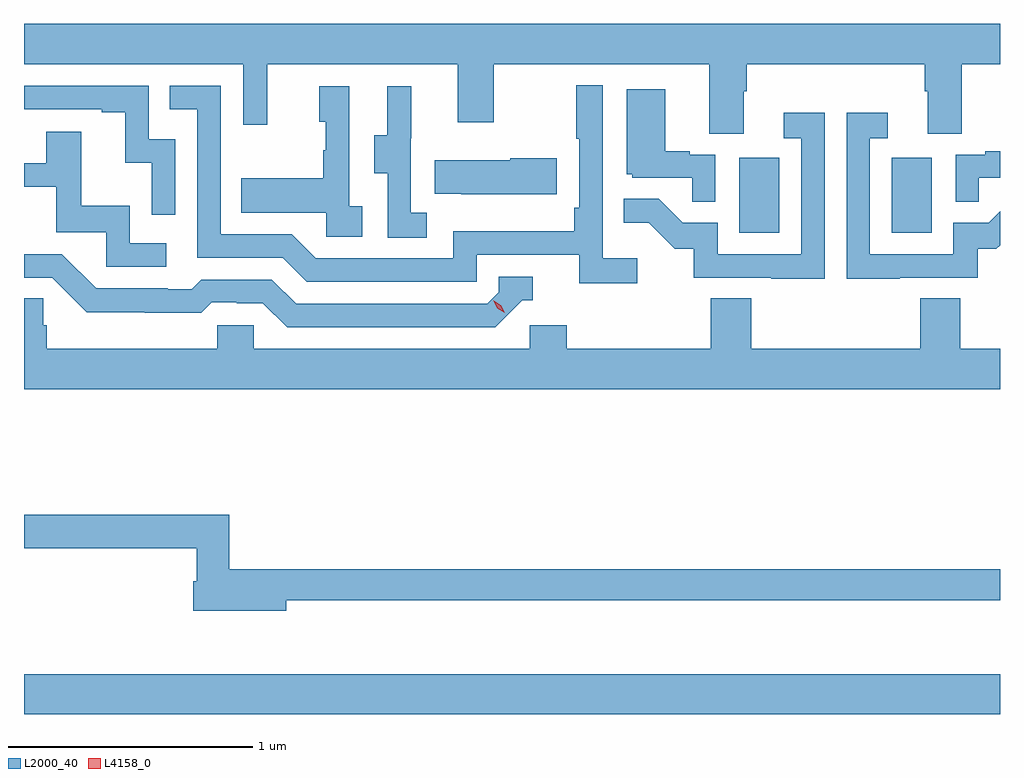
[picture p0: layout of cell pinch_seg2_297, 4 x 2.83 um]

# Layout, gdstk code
import gdstk
lib = gdstk.Library(unit=1e-6, precision=1e-09)
def R(c, l, rs):  # rectangles x0, y0, x1, y1
    for r in rs: c.add(gdstk.rectangle(r[:2], r[2:], *l))
def P(c, l, *ps):  # polygons
    for p in ps: c.add(gdstk.Polygon(p, *l))
L2000_40 = (2000, 40)
L4158_0 = (4158, 0)

pinch_seg2_297 = lib.new_cell('pinch_seg2_297')
R(pinch_seg2_297, L2000_40, [(890.146,635.648,894.146,635.812), (893.078,637.62,893.242,637.927), (893.702,637.62,893.866,637.927)])
P(pinch_seg2_297, L2000_40, [(893.095,638.2),(893.108,638.2),(893.108,638.312),(893.837,638.312),(893.837,638.2),(893.849,638.2),(893.849,638.026),(893.989,638.026),(893.989,638.312),(894.146,638.312),(894.146,638.476),(890.146,638.476),(890.146,638.312),(891.045,638.312),(891.045,638.064),(891.143,638.064),(891.143,638.312),(891.923,638.312),(891.923,638.073),(892.071,638.073),(892.071,638.312),(892.955,638.312),(892.955,638.026),(893.095,638.026)],
  [(892.66,637.516),(892.518,637.516),(892.518,638.224),(892.41,638.224),(892.41,638.005),(892.422,638.005),(892.422,637.723),(892.402,637.723),(892.402,637.627),(891.906,637.627),(891.906,637.515),(891.342,637.515),(891.243,637.614),(890.952,637.614),(890.952,638.223),(890.743,638.223),(890.743,638.127),(890.856,638.127),(890.856,637.518),(891.206,637.518),(891.305,637.419),(892.002,637.419),(892.002,637.53),(892.421,637.53),(892.421,637.414),(892.66,637.414)],
  [(890.766,638.004),(890.658,638.004),(890.658,638.223),(890.146,638.223),(890.146,638.127),(890.465,638.127),(890.465,638.115),(890.561,638.115),(890.561,637.907),(890.67,637.907),(890.67,637.695),(890.766,637.695)],
  [(891.796,637.703),(891.732,637.703),(891.732,638.007),(891.734,638.007),(891.734,638.221),(891.635,638.221),(891.635,638.019),(891.581,638.019),(891.581,637.864),(891.636,637.864),(891.636,637.6),(891.796,637.6)],
  [(891.532,637.73),(891.48,637.73),(891.48,638.221),(891.356,638.221),(891.356,638.076),(891.382,638.076),(891.382,637.958),(891.372,637.958),(891.372,637.843),(891.037,637.843),(891.037,637.703),(891.384,637.703),(891.384,637.605),(891.532,637.605)],
  [(892.98,637.941),(892.874,637.941),(892.874,637.954),(892.774,637.954),(892.774,638.209),(892.616,638.209),(892.616,637.86),(892.638,637.86),(892.638,637.845),(892.885,637.845),(892.885,637.747),(892.98,637.747)],
  [(893.735,637.437),(894.054,637.437),(894.054,637.554),(894.13,637.554),(894.146,637.57),(894.146,637.708),(894.1,637.662),(893.955,637.662),(893.955,637.533),(893.613,637.533),(893.613,638.007),(893.686,638.007),(893.686,638.113),(893.517,638.113),(893.517,637.432),(893.735,637.432)],
  [(893.427,638.113),(893.259,638.113),(893.259,638.007),(893.331,638.007),(893.331,637.533),(892.989,637.533),(892.989,637.662),(892.845,637.662),(892.747,637.76),(892.603,637.76),(892.603,637.661),(892.707,637.661),(892.814,637.554),(892.891,637.554),(892.891,637.437),(893.209,637.437),(893.209,637.432),(893.427,637.432)],
  [(890.728,637.578),(890.58,637.578),(890.58,637.732),(890.381,637.732),(890.381,638.035),(890.237,638.035),(890.237,637.905),(890.146,637.905),(890.146,637.809),(890.279,637.809),(890.279,637.623),(890.484,637.623),(890.484,637.482),(890.728,637.482)],
  [(894.059,637.845),(894.146,637.845),(894.146,637.954),(894.085,637.954),(894.085,637.941),(893.964,637.941),(893.964,637.747),(894.059,637.747)],
  [(892.33,637.926),(892.139,637.926),(892.139,637.918),(891.829,637.918),(891.829,637.781),(891.937,637.781),(891.937,637.778),(892.33,637.778)],
  [(892.188,637.344),(892.231,637.344),(892.231,637.44),(892.092,637.44),(892.092,637.377),(892.044,637.329),(891.261,637.329),(891.162,637.428),(890.873,637.428),(890.834,637.389),(890.735,637.389),(890.735,637.392),(890.442,637.392),(890.301,637.533),(890.146,637.533),(890.146,637.437),(890.262,637.437),(890.404,637.295),(890.64,637.295),(890.64,637.293),(890.873,637.293),(890.915,637.335),(891.018,637.335),(891.018,637.332),(891.125,637.332),(891.224,637.233),(892.077,637.233)],
  [(894.146,637.144),(893.984,637.144),(893.984,637.352),(893.819,637.352),(893.819,637.144),(893.126,637.144),(893.126,637.352),(892.961,637.352),(892.961,637.144),(892.37,637.144),(892.37,637.242),(892.218,637.242),(892.218,637.144),(891.087,637.144),(891.087,637.242),(890.937,637.242),(890.937,637.144),(890.24,637.144),(890.24,637.242),(890.225,637.242),(890.225,637.352),(890.146,637.352),(890.146,636.98),(894.146,636.98)],
  [(891.22,636.114),(894.146,636.114),(894.146,636.242),(890.987,636.242),(890.987,636.464),(890.146,636.464),(890.146,636.328),(890.855,636.328),(890.855,636.193),(890.84,636.193),(890.84,636.071),(891.22,636.071)])
P(pinch_seg2_297, L4158_0, [(892.116,637.292),(892.085,637.311),(892.069,637.344),(892.069,637.344),(892.07,637.344),(892.1,637.324),(892.116,637.292),(892.116,637.292)])

lib.write_gds('pinch_seg2_297.gds')
